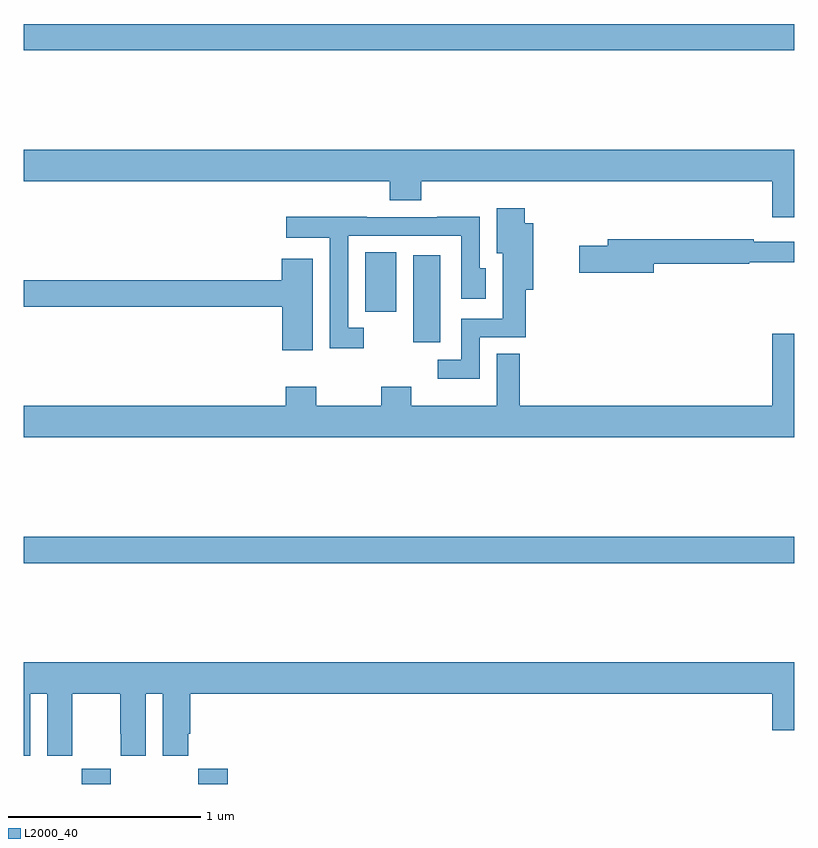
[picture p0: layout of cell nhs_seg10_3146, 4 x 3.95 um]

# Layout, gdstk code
import gdstk
lib = gdstk.Library(unit=1e-6, precision=1e-09)
def R(c, l, rs):  # rectangles x0, y0, x1, y1
    for r in rs: c.add(gdstk.rectangle(r[:2], r[2:], *l))
def P(c, l, *ps):  # polygons
    for p in ps: c.add(gdstk.Polygon(p, *l))
L2000_40 = (2000, 40)

nhs_seg10_3146 = lib.new_cell('nhs_seg10_3146')
R(nhs_seg10_3146, L2000_40, [(281.301,1314.5,281.451,1314.58), (281.905,1314.5,282.059,1314.58), (281,1315.648,285,1315.784), (283.022,1316.796,283.162,1317.247), (282.773,1316.952,282.934,1317.263), (281,1318.312,285,1318.448)])
P(nhs_seg10_3146, L2000_40, [(285,1317.796),(281,1317.796),(281,1317.632),(282.899,1317.632),(282.899,1317.533),(283.064,1317.533),(283.064,1317.632),(284.888,1317.632),(284.888,1317.444),(285,1317.444)],
  [(283.368,1316.82),(283.606,1316.82),(283.606,1317.068),(283.645,1317.068),(283.645,1317.412),(283.601,1317.412),(283.601,1317.49),(283.457,1317.49),(283.457,1317.257),(283.487,1317.257),(283.487,1316.916),(283.272,1316.916),(283.272,1316.703),(283.149,1316.703),(283.149,1316.606),(283.368,1316.606)],
  [(282.766,1316.871),(282.684,1316.871),(282.684,1317.348),(283.272,1317.348),(283.272,1317.021),(283.399,1317.021),(283.399,1317.18),(283.368,1317.18),(283.368,1317.446),(283.147,1317.446),(283.147,1317.444),(282.781,1317.444),(282.781,1317.446),(282.363,1317.446),(282.363,1317.338),(282.588,1317.338),(282.588,1316.763),(282.766,1316.763)],
  [(284.272,1317.202),(284.768,1317.202),(284.768,1317.21),(285,1317.21),(285,1317.318),(284.792,1317.318),(284.792,1317.331),(284.033,1317.331),(284.033,1317.297),(283.884,1317.297),(283.884,1317.155),(284.272,1317.155)],
  [(282.499,1317.229),(282.338,1317.229),(282.338,1317.116),(281,1317.116),(281,1316.98),(282.341,1316.98),(282.341,1316.754),(282.499,1316.754)],
  [(285,1316.839),(284.888,1316.839),(284.888,1316.464),(283.576,1316.464),(283.576,1316.735),(283.457,1316.735),(283.457,1316.464),(283.011,1316.464),(283.011,1316.563),(282.856,1316.563),(282.856,1316.464),(282.519,1316.464),(282.519,1316.563),(282.359,1316.563),(282.359,1316.464),(281,1316.464),(281,1316.3),(285,1316.3)],
  [(281.032,1314.968),(281.12,1314.968),(281.12,1314.648),(281.25,1314.648),(281.25,1314.76),(281.251,1314.76),(281.251,1314.968),(281.501,1314.968),(281.501,1314.76),(281.502,1314.76),(281.502,1314.648),(281.632,1314.648),(281.632,1314.968),(281.72,1314.968),(281.72,1314.648),(281.854,1314.648),(281.854,1314.76),(281.864,1314.76),(281.864,1314.968),(284.888,1314.968),(284.888,1314.78),(285,1314.78),(285,1315.132),(281,1315.132),(281,1314.648),(281.032,1314.648)])

lib.write_gds('nhs_seg10_3146.gds')
